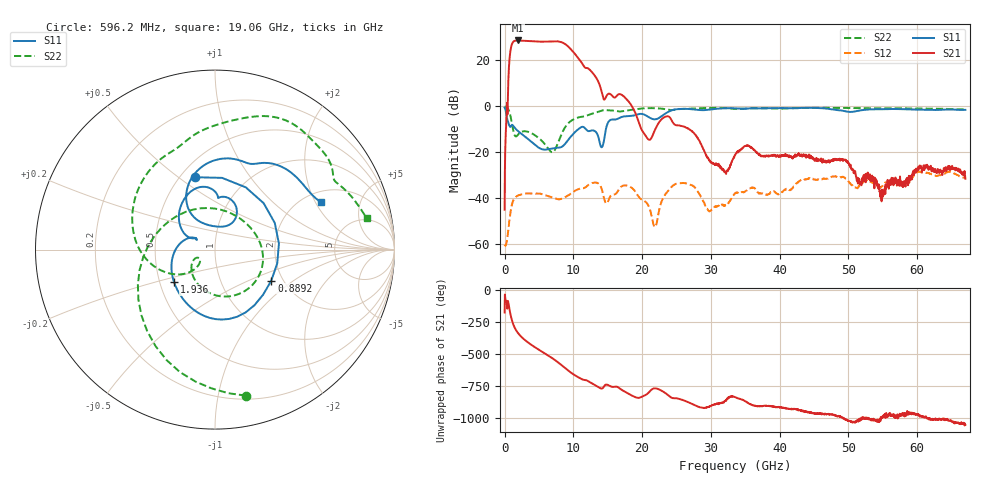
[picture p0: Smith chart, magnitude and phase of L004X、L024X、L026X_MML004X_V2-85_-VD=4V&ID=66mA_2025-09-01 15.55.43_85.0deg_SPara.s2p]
!Keysight Technologies,N5247B,MY63057157,A.17.10.07
!Date: Monday, September 01, 2025 16:02:41
!Correction: S11(C  2-Port  )
!S21(C  2-Port  )
!S12(C  2-Port  )
!S22(C  2-Port  )
!S2P File: Measurements: S11, S21, S12, S22:
# Hz S  dB  R 50
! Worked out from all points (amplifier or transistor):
!   1601 points, 10 MHz to 67 GHz, reference 50 ohm
!   highest |S21| = 28.6 dB at 1.894 GHz (marker M1)
!   |S21| within 3 dB of that: 948.4 MHz to 9.377 GHz (8.428 GHz wide, 163 % of centre)
!   unconditionally stable (mu >= 1): start of sweep to end of sweep
!   at 11.15 GHz: K = 2.10, MAG = 21.5 dB, |S12| = -35.6 dB
!   at 33.51 GHz: K = 20.19, MAG = -7.7 dB, |S12| = -37.9 dB
!   at 67 GHz: K = 51.44, MAG = -20.3 dB, |S12| = -31.1 dB
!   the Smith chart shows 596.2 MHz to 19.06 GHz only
!   S11 on the Smith chart (normalised r, x): 596.2 MHz: 0.59, +0.58; 889.2 MHz: 1.74, -0.69; 1.936 GHz: 0.59, -0.23; 19.06 GHz: 2.46, +2.21
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1e7  -0.58 -26.7  -44.95 -176.7  -60.80 -10.8  -0.15 -12.1
5.961625e8  -7.57 105.5  14.47 -112.8  -52.98 -98.1  -1.60 -78.0
8.892438e8  -8.92 -28.8  24.68 162.3  -45.53 171.9  -4.58 -129.9
1.3498e9  -8.83 -106.3  28.23 79.8  -40.47 110.4  -11.50 127.6
1.894094e9  -10.62 -139.8  28.59 27.5  -38.93 72.2  -12.54 27.0
1.935962e9  -10.73 -141.8  28.58 24.5  -38.85 70.3  -12.39 22.1
2.396519e9  -11.83 -161.1  28.52 -3.8  -38.35 52.7  -11.17 -15.8
3.02455e9  -13.28 178.6  28.39 -34.1  -37.96 35.5  -10.87 -48.3
4.196875e9  -16.24 154.5  28.20 -79.6  -37.89 13.7  -12.17 -95.3
5.536675e9  -18.74 150.7  28.06 -124.9  -38.32 -4.3  -15.38 -140.4
7.002081e9  -18.26 150.7  28.21 -174.9  -39.68 -13.4  -19.96 -147.2
7.839456e9  -18.00 148.9  28.15 152.2  -40.44 -12.2  -15.32 -136.8
8.802438e9  -16.34 154.6  27.03 110.3  -39.56 -6.3  -9.15 -164.1
9.891025e9  -12.33 144.3  23.95 66.4  -37.38 -9.5  -5.94 155.5
1.118896e10  -9.03 110.8  19.03 25.2  -35.64 -25.6  -4.57 118.8
1.3408e10  -11.69 62.6  11.98 -31.6  -33.24 -68.6  -2.61 79.5
1.906028e10  -3.81 24.0  -3.24 -117.5  -37.31 -130.0  -1.29 11.7
2.236791e10  -5.22 0.5  -7.42 -53.9  -46.81 4.7  -0.92 -19.0
3.3505e10  -0.90 -81.6  -21.24 -115.2  -37.89 -124.0  -1.18 -74.3
4.468396e10  -0.68 -126.0  -22.31 118.2  -31.30 168.1  -0.72 -109.0
5.586291e10  -1.26 -152.8  -35.80 115.0  -32.45 124.7  -0.90 -141.3
6.7e10  -1.56 179.2  -31.52 28.1  -31.13 49.1  -1.26 -173.9
